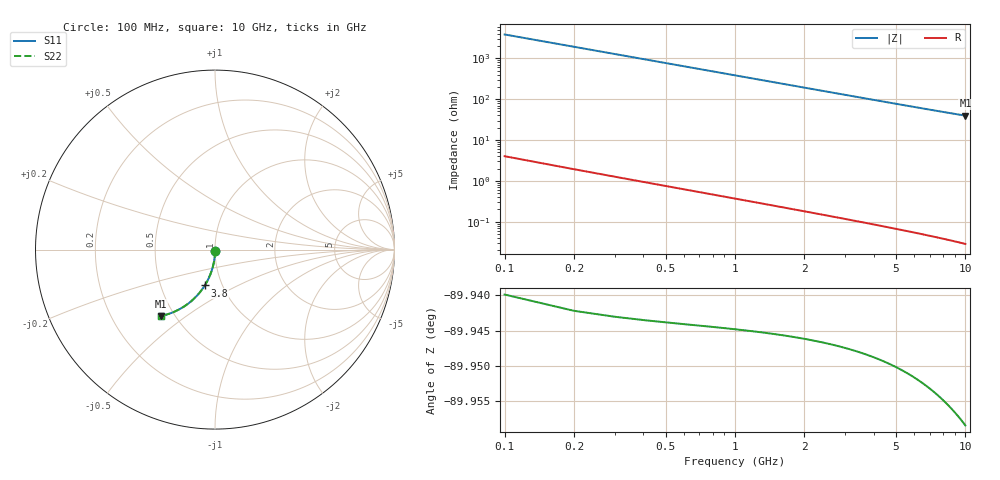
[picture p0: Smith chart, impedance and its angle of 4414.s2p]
# Hz S RI R 50.00
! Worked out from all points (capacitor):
!   100 points, 100 MHz to 10 GHz, reference 50 ohm
!   read as one part in shunt: C = 415 fF near 100 MHz
!   lowest |Z| = 39.6 ohm at 10 GHz (marker M1)
!   S11 on the Smith chart (normalised r, x): 100 MHz: 1.00, -0.01; 3.8 GHz: 0.83, -0.35; 10 GHz: 0.42, -0.40
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1e8  0.000353 -0.00561  0.9995 -0.00742  0.9995 -0.00742  0.000353 -0.00561
2e8  0.000224 -0.0112  0.9994 -0.0148  0.9994 -0.0148  0.000224 -0.0112
3e8  1.2e-05 -0.0168  0.9992 -0.0223  0.9992 -0.0223  1.2e-05 -0.0168
4e8  -0.000284 -0.0224  0.9989 -0.0297  0.9989 -0.0297  -0.000284 -0.0224
5e8  -0.000663 -0.028  0.9985 -0.0371  0.9985 -0.0371  -0.000663 -0.028
6e8  -0.00112 -0.0336  0.998 -0.0445  0.998 -0.0445  -0.00112 -0.0336
7e8  -0.00167 -0.0392  0.9974 -0.0519  0.9974 -0.0519  -0.00167 -0.0392
8e8  -0.0023 -0.0447  0.9968 -0.0593  0.9968 -0.0593  -0.0023 -0.0447
9e8  -0.00301 -0.0503  0.996 -0.0666  0.996 -0.0666  -0.00301 -0.0503
1.1e9  -0.00467 -0.0614  0.9943 -0.0813  0.9943 -0.0813  -0.00467 -0.0614
1.4e9  -0.00778 -0.0778  0.9911 -0.1032  0.9911 -0.1032  -0.00778 -0.0778
1.8e9  -0.013 -0.0995  0.9856 -0.1322  0.9856 -0.1322  -0.013 -0.0995
2.1e9  -0.0178 -0.1155  0.9806 -0.1536  0.9806 -0.1536  -0.0178 -0.1155
2.5e9  -0.0252 -0.1363  0.9729 -0.1817  0.9729 -0.1817  -0.0252 -0.1363
2.9e9  -0.0338 -0.1566  0.964 -0.2093  0.964 -0.2093  -0.0338 -0.1566
3.4e9  -0.046 -0.181  0.9512 -0.2429  0.9512 -0.2429  -0.046 -0.181
3.8e9  -0.057 -0.1997  0.9398 -0.2689  0.9398 -0.2689  -0.057 -0.1997
4.4e9  -0.0752 -0.2263  0.9207 -0.3065  0.9207 -0.3065  -0.0752 -0.2263
5.1e9  -0.0988 -0.2548  0.896 -0.3479  0.896 -0.3479  -0.0988 -0.2548
6.7e9  -0.1602 -0.3088  0.8313 -0.4315  0.8313 -0.4315  -0.1602 -0.3088
8.4e9  -0.2323 -0.3485  0.7547 -0.5032  0.7547 -0.5032  -0.2323 -0.3485
1e10  -0.302 -0.3698  0.6797 -0.555  0.6797 -0.555  -0.302 -0.3698
